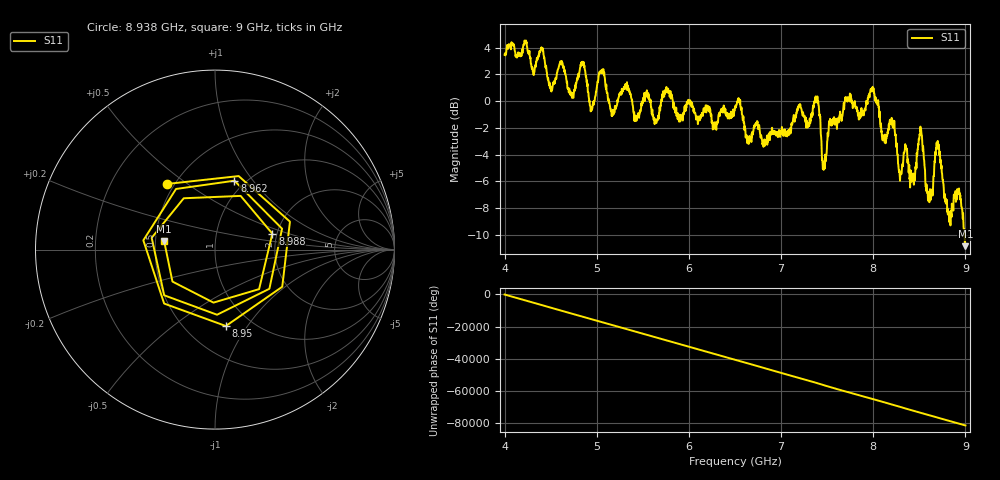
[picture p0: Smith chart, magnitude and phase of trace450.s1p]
! Created with skrf 1.8.0 (http://scikit-rf.org).
# Hz S RI R 50.0
!freq ReS11 ImS11
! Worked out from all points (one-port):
!   1601 points, 4 GHz to 9 GHz, reference 50 ohm
!   lowest |S11| = -10.8 dB at 9 GHz (marker M1), VSWR 1.80, Z = 27.8 + j2.8 ohm
!   |S11| at or under -10 dB: 8.992152 GHz to end of sweep
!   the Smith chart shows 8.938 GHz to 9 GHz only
!   S11 on the Smith chart (normalised r, x): 8.938 GHz: 0.46, +0.42; 8.95 GHz: 0.77, -0.80; 8.962 GHz: 0.89, +0.81; 8.988 GHz: 1.89, +0.38; 9 GHz: 0.56, +0.06
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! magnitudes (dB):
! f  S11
! 4 GHz  3.5
! 4.625 GHz  2.9
! 4.734 GHz  0.5
! 4.85 GHz  2.8
! 4.941 GHz  -0.5
! 5.047 GHz  2.2
! 5.166 GHz  -1.0
! 5.25 GHz  0.5
! 5.875 GHz  -1.0
! 6.5 GHz  -0.5
! 6.653 GHz  -3.2
! 7.125 GHz  -1.6
! 7.388 GHz  0.2
! 7.469 GHz  -4.5
! 7.75 GHz  0.0
! 7.991 GHz  0.9
! 8.112 GHz  -2.8
! 8.375 GHz  -4.3
! 8.438 GHz  -6.0
! 8.519 GHz  -2.1
! 8.619 GHz  -7.2
! 8.697 GHz  -3.3
! 8.825 GHz  -9.0
! 8.938 GHz  -6.9
! 8.95 GHz  -7.3
! 8.962 GHz  -8.0
! 8.988 GHz  -9.6
! 9 GHz  -10.8
